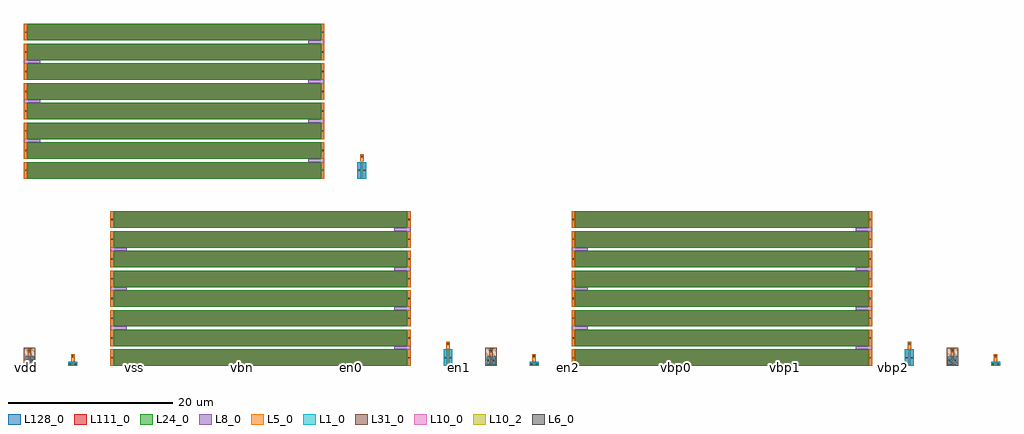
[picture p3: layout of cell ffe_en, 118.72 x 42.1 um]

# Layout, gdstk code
import gdstk
lib = gdstk.Library(unit=1e-6, precision=1e-09)
def R(c, l, rs):  # rectangles x0, y0, x1, y1
    for r in rs: c.add(gdstk.rectangle(r[:2], r[2:], *l))
def A(c, l, x, y, w, h, nx, ny, dx, dy):  # array of equal rectangles
    R(c, l, [(x+i*dx, y+j*dy, x+i*dx+w, y+j*dy+h) for i in range(nx) for j in range(ny)])
L1_0 = (1, 0)
L5_0 = (5, 0)
L6_0 = (6, 0)
L8_0 = (8, 0)
L10_0 = (10, 0)
L10_2 = (10, 2)
L24_0 = (24, 0)
L31_0 = (31, 0)
L111_0 = (111, 0)
L128_0 = (128, 0)

ffe_en_xmpi0__core = lib.new_cell('ffe_en_XMPi0__core')
R(ffe_en_xmpi0__core, L1_0, [(0,0,1.09,1)])
R(ffe_en_xmpi0__core, L5_0, [(0.48,0,0.61,1), (0.48,1,0.61,1.1), (0.335,1.1,0.755,1.92)])
R(ffe_en_xmpi0__core, L6_0, [(0.13,0.42,0.29,0.58), (0.8,0.42,0.96,0.58), (0.465,1.63,0.625,1.79)])
R(ffe_en_xmpi0__core, L8_0, [(0,0,0.42,1), (0.67,0,1.09,1), (0.335,1.5,0.755,1.92)])
R(ffe_en_xmpi0__core, L31_0, [(-0.15,-0.15,1.24,2.07)])

ffe_en_xmpi0 = lib.new_cell('ffe_en_XMPi0')
ffe_en_xmpi0.add(gdstk.Reference(ffe_en_xmpi0__core, (0,0)))

ffe_en_xmni0__core = lib.new_cell('ffe_en_XMNi0__core')
R(ffe_en_xmni0__core, L1_0, [(0,0,1.09,0.5)])
R(ffe_en_xmni0__core, L5_0, [(0.48,0,0.61,0.5), (0.48,0.5,0.61,0.6), (0.335,0.6,0.755,1.42)])
R(ffe_en_xmni0__core, L6_0, [(0.13,0.17,0.29,0.33), (0.8,0.17,0.96,0.33), (0.465,1.13,0.625,1.29)])
R(ffe_en_xmni0__core, L8_0, [(0,0,0.42,0.5), (0.67,0,1.09,0.5), (0.335,1,0.755,1.42)])

ffe_en_xmni0 = lib.new_cell('ffe_en_XMNi0')
ffe_en_xmni0.add(gdstk.Reference(ffe_en_xmni0__core, (0,0)))

ffe_en_xrb0__core = lib.new_cell('ffe_en_XRb0__core')
A(ffe_en_xrb0__core, L5_0, 0, 0, 0.42, 2, 1, 8, 0, 2.4)
A(ffe_en_xrb0__core, L5_0, 36.132, 0, 0.42, 2, 1, 8, 0, 2.4)
A(ffe_en_xrb0__core, L6_0, 0.13, 0.92, 0.16, 0.16, 1, 8, 0, 2.4)
A(ffe_en_xrb0__core, L6_0, 36.262, 0.92, 0.16, 0.16, 1, 8, 0, 2.4)
A(ffe_en_xrb0__core, L8_0, 0, 0, 0.42, 2, 1, 8, 0, 2.4)
A(ffe_en_xrb0__core, L8_0, 36.132, 0, 0.42, 2, 1, 8, 0, 2.4)
A(ffe_en_xrb0__core, L8_0, 34.552, 2, 2, 0.4, 1, 4, 0, 4.8)
A(ffe_en_xrb0__core, L8_0, 0, 4.4, 2, 0.4, 1, 3, 0, 4.8)
A(ffe_en_xrb0__core, L24_0, 0.42, 0, 35.712, 2, 1, 8, 0, 2.4)
A(ffe_en_xrb0__core, L111_0, 0.42, 0, 35.712, 2, 1, 8, 0, 2.4)
A(ffe_en_xrb0__core, L128_0, 0.42, 0, 35.712, 2, 1, 8, 0, 2.4)

ffe_en_xrb0 = lib.new_cell('ffe_en_XRb0')
ffe_en_xrb0.add(gdstk.Reference(ffe_en_xrb0__core, (0,0)))

ffe_en_xmnd0__core = lib.new_cell('ffe_en_XMNd0__core')
R(ffe_en_xmnd0__core, L1_0, [(0,0,1.09,2)])
R(ffe_en_xmnd0__core, L5_0, [(0.48,0,0.61,2), (0.48,2,0.61,2.1), (0.335,2.1,0.755,2.92)])
R(ffe_en_xmnd0__core, L6_0, [(0.13,0.92,0.29,1.08), (0.8,0.92,0.96,1.08), (0.465,2.63,0.625,2.79)])
R(ffe_en_xmnd0__core, L8_0, [(0,0,0.42,2), (0.67,0,1.09,2), (0.335,2.5,0.755,2.92)])

ffe_en_xmnd0 = lib.new_cell('ffe_en_XMNd0')
ffe_en_xmnd0.add(gdstk.Reference(ffe_en_xmnd0__core, (0,0)))

ffe_en_xmpi1__core = lib.new_cell('ffe_en_XMPi1__core')
R(ffe_en_xmpi1__core, L1_0, [(0,0,1.09,1)])
R(ffe_en_xmpi1__core, L5_0, [(0.48,0,0.61,1), (0.48,1,0.61,1.1), (0.335,1.1,0.755,1.92)])
R(ffe_en_xmpi1__core, L6_0, [(0.13,0.42,0.29,0.58), (0.8,0.42,0.96,0.58), (0.465,1.63,0.625,1.79)])
R(ffe_en_xmpi1__core, L8_0, [(0,0,0.42,1), (0.67,0,1.09,1), (0.335,1.5,0.755,1.92)])
R(ffe_en_xmpi1__core, L31_0, [(-0.15,-0.15,1.24,2.07)])

ffe_en_xmpi1 = lib.new_cell('ffe_en_XMPi1')
ffe_en_xmpi1.add(gdstk.Reference(ffe_en_xmpi1__core, (0,0)))

ffe_en_xmni1__core = lib.new_cell('ffe_en_XMNi1__core')
R(ffe_en_xmni1__core, L1_0, [(0,0,1.09,0.5)])
R(ffe_en_xmni1__core, L5_0, [(0.48,0,0.61,0.5), (0.48,0.5,0.61,0.6), (0.335,0.6,0.755,1.42)])
R(ffe_en_xmni1__core, L6_0, [(0.13,0.17,0.29,0.33), (0.8,0.17,0.96,0.33), (0.465,1.13,0.625,1.29)])
R(ffe_en_xmni1__core, L8_0, [(0,0,0.42,0.5), (0.67,0,1.09,0.5), (0.335,1,0.755,1.42)])

ffe_en_xmni1 = lib.new_cell('ffe_en_XMNi1')
ffe_en_xmni1.add(gdstk.Reference(ffe_en_xmni1__core, (0,0)))

ffe_en_xrb1__core = lib.new_cell('ffe_en_XRb1__core')
A(ffe_en_xrb1__core, L5_0, 0, 0, 0.42, 2, 1, 8, 0, 2.4)
A(ffe_en_xrb1__core, L5_0, 36.132, 0, 0.42, 2, 1, 8, 0, 2.4)
A(ffe_en_xrb1__core, L6_0, 0.13, 0.92, 0.16, 0.16, 1, 8, 0, 2.4)
A(ffe_en_xrb1__core, L6_0, 36.262, 0.92, 0.16, 0.16, 1, 8, 0, 2.4)
A(ffe_en_xrb1__core, L8_0, 0, 0, 0.42, 2, 1, 8, 0, 2.4)
A(ffe_en_xrb1__core, L8_0, 36.132, 0, 0.42, 2, 1, 8, 0, 2.4)
A(ffe_en_xrb1__core, L8_0, 34.552, 2, 2, 0.4, 1, 4, 0, 4.8)
A(ffe_en_xrb1__core, L8_0, 0, 4.4, 2, 0.4, 1, 3, 0, 4.8)
A(ffe_en_xrb1__core, L24_0, 0.42, 0, 35.712, 2, 1, 8, 0, 2.4)
A(ffe_en_xrb1__core, L111_0, 0.42, 0, 35.712, 2, 1, 8, 0, 2.4)
A(ffe_en_xrb1__core, L128_0, 0.42, 0, 35.712, 2, 1, 8, 0, 2.4)

ffe_en_xrb1 = lib.new_cell('ffe_en_XRb1')
ffe_en_xrb1.add(gdstk.Reference(ffe_en_xrb1__core, (0,0)))

ffe_en_xmnd1__core = lib.new_cell('ffe_en_XMNd1__core')
R(ffe_en_xmnd1__core, L1_0, [(0,0,1.09,2)])
R(ffe_en_xmnd1__core, L5_0, [(0.48,0,0.61,2), (0.48,2,0.61,2.1), (0.335,2.1,0.755,2.92)])
R(ffe_en_xmnd1__core, L6_0, [(0.13,0.92,0.29,1.08), (0.8,0.92,0.96,1.08), (0.465,2.63,0.625,2.79)])
R(ffe_en_xmnd1__core, L8_0, [(0,0,0.42,2), (0.67,0,1.09,2), (0.335,2.5,0.755,2.92)])

ffe_en_xmnd1 = lib.new_cell('ffe_en_XMNd1')
ffe_en_xmnd1.add(gdstk.Reference(ffe_en_xmnd1__core, (0,0)))

ffe_en_xmpi2__core = lib.new_cell('ffe_en_XMPi2__core')
R(ffe_en_xmpi2__core, L1_0, [(0,0,1.09,1)])
R(ffe_en_xmpi2__core, L5_0, [(0.48,0,0.61,1), (0.48,1,0.61,1.1), (0.335,1.1,0.755,1.92)])
R(ffe_en_xmpi2__core, L6_0, [(0.13,0.42,0.29,0.58), (0.8,0.42,0.96,0.58), (0.465,1.63,0.625,1.79)])
R(ffe_en_xmpi2__core, L8_0, [(0,0,0.42,1), (0.67,0,1.09,1), (0.335,1.5,0.755,1.92)])
R(ffe_en_xmpi2__core, L31_0, [(-0.15,-0.15,1.24,2.07)])

ffe_en_xmpi2 = lib.new_cell('ffe_en_XMPi2')
ffe_en_xmpi2.add(gdstk.Reference(ffe_en_xmpi2__core, (0,0)))

ffe_en_xmni2__core = lib.new_cell('ffe_en_XMNi2__core')
R(ffe_en_xmni2__core, L1_0, [(0,0,1.09,0.5)])
R(ffe_en_xmni2__core, L5_0, [(0.48,0,0.61,0.5), (0.48,0.5,0.61,0.6), (0.335,0.6,0.755,1.42)])
R(ffe_en_xmni2__core, L6_0, [(0.13,0.17,0.29,0.33), (0.8,0.17,0.96,0.33), (0.465,1.13,0.625,1.29)])
R(ffe_en_xmni2__core, L8_0, [(0,0,0.42,0.5), (0.67,0,1.09,0.5), (0.335,1,0.755,1.42)])

ffe_en_xmni2 = lib.new_cell('ffe_en_XMNi2')
ffe_en_xmni2.add(gdstk.Reference(ffe_en_xmni2__core, (0,0)))

ffe_en_xrb2__core = lib.new_cell('ffe_en_XRb2__core')
A(ffe_en_xrb2__core, L5_0, 0, 0, 0.42, 2, 1, 8, 0, 2.4)
A(ffe_en_xrb2__core, L5_0, 36.132, 0, 0.42, 2, 1, 8, 0, 2.4)
A(ffe_en_xrb2__core, L6_0, 0.13, 0.92, 0.16, 0.16, 1, 8, 0, 2.4)
A(ffe_en_xrb2__core, L6_0, 36.262, 0.92, 0.16, 0.16, 1, 8, 0, 2.4)
A(ffe_en_xrb2__core, L8_0, 0, 0, 0.42, 2, 1, 8, 0, 2.4)
A(ffe_en_xrb2__core, L8_0, 36.132, 0, 0.42, 2, 1, 8, 0, 2.4)
A(ffe_en_xrb2__core, L8_0, 34.552, 2, 2, 0.4, 1, 4, 0, 4.8)
A(ffe_en_xrb2__core, L8_0, 0, 4.4, 2, 0.4, 1, 3, 0, 4.8)
A(ffe_en_xrb2__core, L24_0, 0.42, 0, 35.712, 2, 1, 8, 0, 2.4)
A(ffe_en_xrb2__core, L111_0, 0.42, 0, 35.712, 2, 1, 8, 0, 2.4)
A(ffe_en_xrb2__core, L128_0, 0.42, 0, 35.712, 2, 1, 8, 0, 2.4)

ffe_en_xrb2 = lib.new_cell('ffe_en_XRb2')
ffe_en_xrb2.add(gdstk.Reference(ffe_en_xrb2__core, (0,0)))

ffe_en_xmnd2__core = lib.new_cell('ffe_en_XMNd2__core')
R(ffe_en_xmnd2__core, L1_0, [(0,0,1.09,2)])
R(ffe_en_xmnd2__core, L5_0, [(0.48,0,0.61,2), (0.48,2,0.61,2.1), (0.335,2.1,0.755,2.92)])
R(ffe_en_xmnd2__core, L6_0, [(0.13,0.92,0.29,1.08), (0.8,0.92,0.96,1.08), (0.465,2.63,0.625,2.79)])
R(ffe_en_xmnd2__core, L8_0, [(0,0,0.42,2), (0.67,0,1.09,2), (0.335,2.5,0.755,2.92)])

ffe_en_xmnd2 = lib.new_cell('ffe_en_XMNd2')
ffe_en_xmnd2.add(gdstk.Reference(ffe_en_xmnd2__core, (0,0)))

ffe_en = lib.new_cell('ffe_en')
A(ffe_en, L10_0, 0, -0.5, 0.5, 0.5, 9, 1, 13.191, 0)
A(ffe_en, L10_2, 0, -0.5, 0.5, 0.5, 9, 1, 13.191, 0)
ffe_en.add(gdstk.Reference(ffe_en_xmpi0, (0.15,0.15)))
ffe_en.add(gdstk.Reference(ffe_en_xmni0, (5.39,0)))
ffe_en.add(gdstk.Reference(ffe_en_xrb0, (10.48,0)))
ffe_en.add(gdstk.Reference(ffe_en_xmnd0, (51.032,0)))
ffe_en.add(gdstk.Reference(ffe_en_xmpi1, (56.272,0.15)))
ffe_en.add(gdstk.Reference(ffe_en_xmni1, (61.512,0)))
ffe_en.add(gdstk.Reference(ffe_en_xrb1, (66.602,0)))
ffe_en.add(gdstk.Reference(ffe_en_xmnd1, (107.154,0)))
ffe_en.add(gdstk.Reference(ffe_en_xmpi2, (112.394,0.15)))
ffe_en.add(gdstk.Reference(ffe_en_xmni2, (117.634,0)))
ffe_en.add(gdstk.Reference(ffe_en_xrb2, (0,22.8)))
ffe_en.add(gdstk.Reference(ffe_en_xmnd2, (40.552,22.8)))
ffe_en.add(gdstk.Label('vdd', (0.25,-0.25), layer=10, texttype=25))
ffe_en.add(gdstk.Label('vss', (13.441,-0.25), layer=10, texttype=25))
ffe_en.add(gdstk.Label('vbn', (26.632,-0.25), layer=10, texttype=25))
ffe_en.add(gdstk.Label('en0', (39.823,-0.25), layer=10, texttype=25))
ffe_en.add(gdstk.Label('en1', (53.014,-0.25), layer=10, texttype=25))
ffe_en.add(gdstk.Label('en2', (66.205,-0.25), layer=10, texttype=25))
ffe_en.add(gdstk.Label('vbp0', (79.396,-0.25), layer=10, texttype=25))
ffe_en.add(gdstk.Label('vbp1', (92.587,-0.25), layer=10, texttype=25))
ffe_en.add(gdstk.Label('vbp2', (105.778,-0.25), layer=10, texttype=25))

lib.write_gds('ffe_en.gds')
